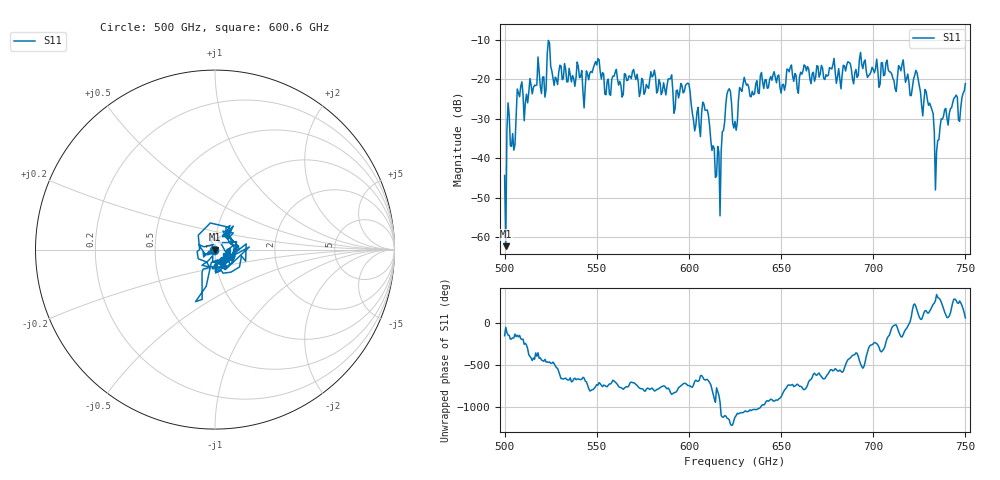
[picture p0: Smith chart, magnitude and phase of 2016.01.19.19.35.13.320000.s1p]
!Created with skrf (http://scikit-rf.org).
# GHz S RI R 50.0
!freq ReS11 ImS11
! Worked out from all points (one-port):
!   401 points, 500 GHz to 750 GHz, reference 50 ohm
!   lowest |S11| = -62.2 dB at 500.6 GHz (marker M1), VSWR 1.00, Z = 50 - j0.062 ohm
!   |S11| at or under -10 dB: start of sweep to end of sweep
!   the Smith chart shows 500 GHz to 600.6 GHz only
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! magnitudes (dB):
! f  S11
! 500 GHz  -44.3
! 500.6 GHz  -62.2
! 502.5 GHz  -29.1
! 504.4 GHz  -33.7
! 508.1 GHz  -24.4
! 521.2 GHz  -19.4
! 524.4 GHz  -10.8
! 527.5 GHz  -19.5
! 531.2 GHz  -20.1
! 543.8 GHz  -21.9
! 550 GHz  -16.4
! 562.5 GHz  -20.5
! 580.6 GHz  -19.0
! 593.8 GHz  -22.7
! 599.4 GHz  -21.0
! 603.1 GHz  -33.1
! 608.8 GHz  -27.8
! 615.6 GHz  -37.0
! 621.2 GHz  -22.8
! 625 GHz  -30.6
! 630.6 GHz  -20.7
! 656.2 GHz  -19.2
! 687.5 GHz  -16.0
! 718.8 GHz  -18.7
! 729.4 GHz  -25.2
! 734.4 GHz  -38.2
! 738.1 GHz  -29.4
! 750 GHz  -21.1
